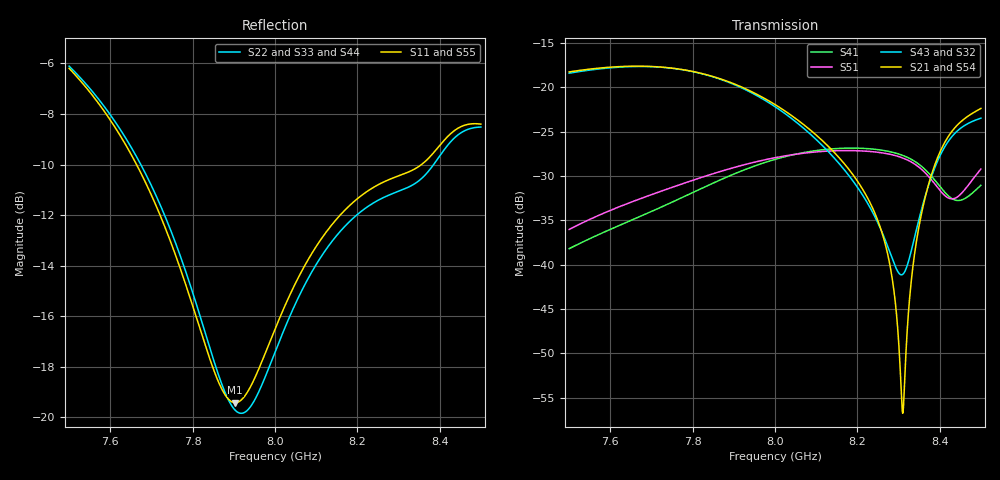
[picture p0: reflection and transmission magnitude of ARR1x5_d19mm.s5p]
! Touchstone file exported from HFSS 2025.1.0
!  File:  C:/Users/user/Documents/Ansoft/TFG_UWB-MIMO-Array.aedt
!  Generated:  04:10:09 PM Nov 20, 2026
!  Design:  ARR1x5_US3_PS6_4_dparam
!  Project:  TFG_UWB-MIMO-Array
!  Setup:  Setup_ch9
!  Solution:  Sweep_7p5_8p5
! Variables:
!  arr_d = 19mm
!  board_m = 13mm
!  board_x = 102mm
!  board_y = 26mm
!  cu_t = 0.035mm
!  line_w = 3.92mm
!  pad_xy = 22mm
!  pad_zn = 25mm
!  pad_zp = 33mm
!  par_L = 7.05mm
!  par_W = 13.58mm
!  par_yc = 0.615mm
!  par_z = 1.035mm
!  patch_L = 6.29mm
!  patch_W = 14mm
!  sub_h = 2.07mm
!  tr_l = 7.25mm
!  tr_w = 1mm
!  u_Lu = 2.65mm
!  u_Wu = 4.4mm
!  u_t = 0.8mm
!  u_y0 = -0.7mm
# GHz S MA R 50.000000
! Terminal data exported
! Port[1] = P1
! Port[2] = P2
! Port[3] = P3
! Port[4] = P4
! Port[5] = P5
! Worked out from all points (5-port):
!   1001 points, 7.5 GHz to 8.5 GHz, reference 50 ohm
!   strongest paths, dB at 7.5 GHz, 7.75 GHz, 8 GHz, 8.25 GHz, 8.5 GHz:
!     S21: -18.3, -17.8, -21.9, -35.1, -22.4
!     S54: -18.3, -17.8, -21.9, -35.0, -22.4
!     S43: -18.4, -17.8, -22.2, -35.3, -23.5
!     S32: -18.4, -17.9, -22.2, -35.4, -23.5
!     S51: -36.0, -31.3, -27.9, -27.3, -29.2
!     S41: -38.2, -33.0, -28.1, -27.0, -31.1
!   lowest |S11| = -19.4 dB at 7.903 GHz (marker M1), VSWR 1.24, Z = 61 - j4.48 ohm
!   |S11| at or under -10 dB: 7.664 GHz to 8.356 GHz (692.1 MHz wide, 8.64 % of centre)
